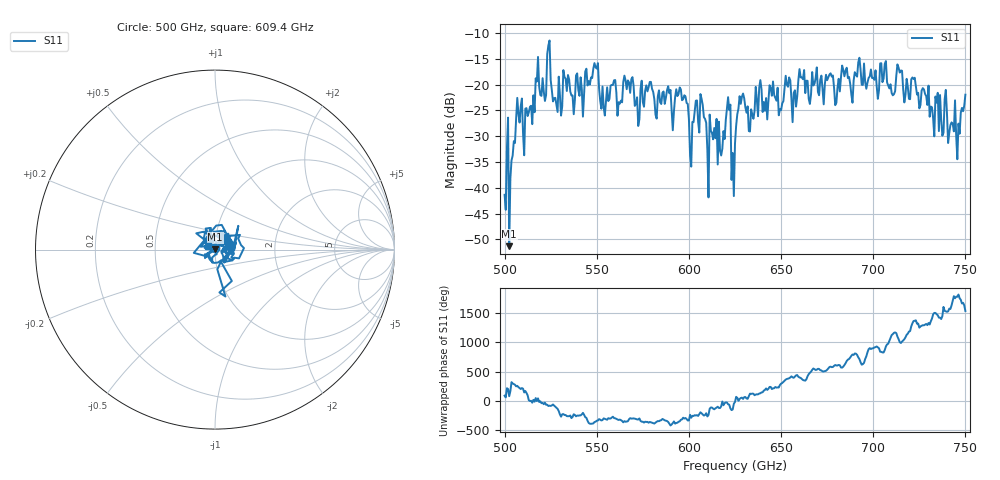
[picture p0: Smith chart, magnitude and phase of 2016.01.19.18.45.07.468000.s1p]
!Created with skrf (http://scikit-rf.org).
# GHz S RI R 50.0
!freq ReS11 ImS11
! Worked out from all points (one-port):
!   401 points, 500 GHz to 750 GHz, reference 50 ohm
!   lowest |S11| = -51.3 dB at 502.5 GHz (marker M1), VSWR 1.01, Z = 50 + j0.27 ohm
!   |S11| at or under -10 dB: start of sweep to end of sweep
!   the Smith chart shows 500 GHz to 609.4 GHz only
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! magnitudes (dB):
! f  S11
! 500 GHz  -41.3
! 502.5 GHz  -51.3
! 508.1 GHz  -27.3
! 511.2 GHz  -24.7
! 523.8 GHz  -12.4
! 527.5 GHz  -22.6
! 531.2 GHz  -24.2
! 549.4 GHz  -16.6
! 553.1 GHz  -20.4
! 562.5 GHz  -23.7
! 565.6 GHz  -19.2
! 571.9 GHz  -22.5
! 593.8 GHz  -22.2
! 601.2 GHz  -35.9
! 607.5 GHz  -24.0
! 609.4 GHz  -27.4
! 616.9 GHz  -32.8
! 621.2 GHz  -22.4
! 625 GHz  -31.4
! 628.8 GHz  -22.4
! 633.8 GHz  -24.8
! 637.5 GHz  -26.1
! 656.2 GHz  -27.3
! 687.5 GHz  -19.8
! 714.4 GHz  -17.7
! 718.8 GHz  -20.4
! 746.2 GHz  -27.6
! 750 GHz  -22.0
